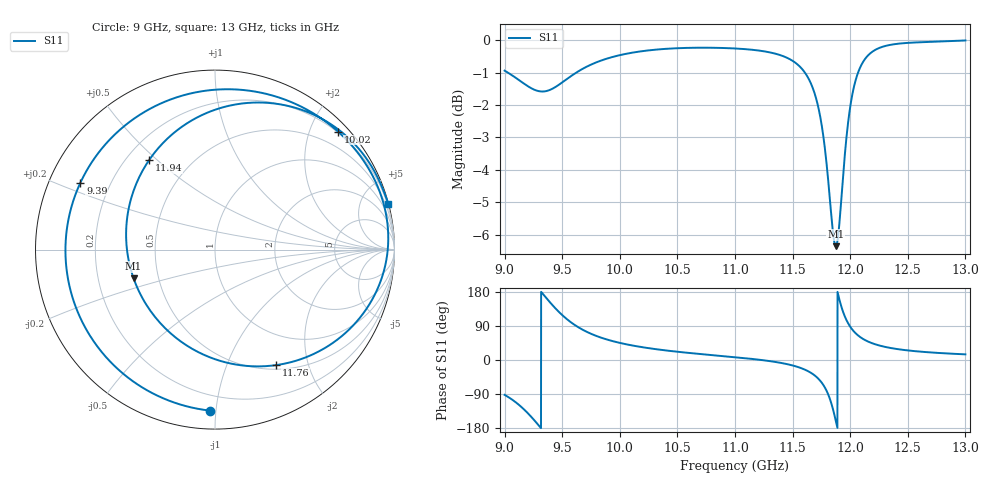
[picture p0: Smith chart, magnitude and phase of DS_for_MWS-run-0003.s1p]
! TOUCHSTONE file generated by CST DESIGN STUDIO
! Date and time: Tue Feb  4 14:27:42 2025
! Project name: C:\Work\MatlabApps\UnitCellOptimizationMatlab\CST\unitcell.cst
! Tree item: Tasks\Sweep1\SPara1\S-Parameters
! Header version: 2024
! Port assignment regex: !\s*Touchstone port\s*([0-9]+)\s*=\s*(CST MWS port|CST DES external port|CST DES block port)\s*(.+)\s* \(\"(.*)\"\)(\s*mode\s*([0-9]+))?.*
! Touchstone port assignment:
! Touchstone port 1 = CST DES external port 1 ("")
# GHz S MA R 50
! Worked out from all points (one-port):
!   4001 points, 9 GHz to 13 GHz, reference 50 ohm
!   lowest |S11| = -6.4 dB at 11.88 GHz (marker M1), VSWR 2.85, Z = 18 - j7.48 ohm
!   |S11| at or under -10 dB: nowhere
!   S11 on the Smith chart (normalised r, x): 9 GHz: 0.10, -0.96; 9.39 GHz: 0.09, +0.23; 10.02 GHz: 0.18, +2.47; 11.76 GHz: 0.55, -1.52; 11.94 GHz: 0.29, +0.47; 13 GHz: 0.03, +7.65
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9  0.8973 -91.9
9.096  0.8749 -111.4
9.18  0.8541 -133.8
9.291  0.8347 -170.7
9.39  0.8375 153.5
9.5  0.8605 118.6
9.6  0.8858 94.3
9.733  0.9137 71.5
10  0.948 45.1
10.019  0.9497 43.8
10.5  0.9717 21.8
11  0.9708 7.4
11.5  0.9291 -14.4
11.655  0.8605 -33.1
11.71  0.8056 -45.4
11.758  0.7288 -62.0
11.82  0.5781 -99.4
11.847  0.512 -125.9
11.875  0.481 -160.6
11.906  0.5211 159.8
11.939  0.6196 126.3
11.968  0.7091 105.0
12  0.7888 87.9
12.079  0.9012 62.3
12.173  0.9538 46.3
12.304  0.9794 34.5
12.5  0.9903 25.3
13  0.9988 14.9
